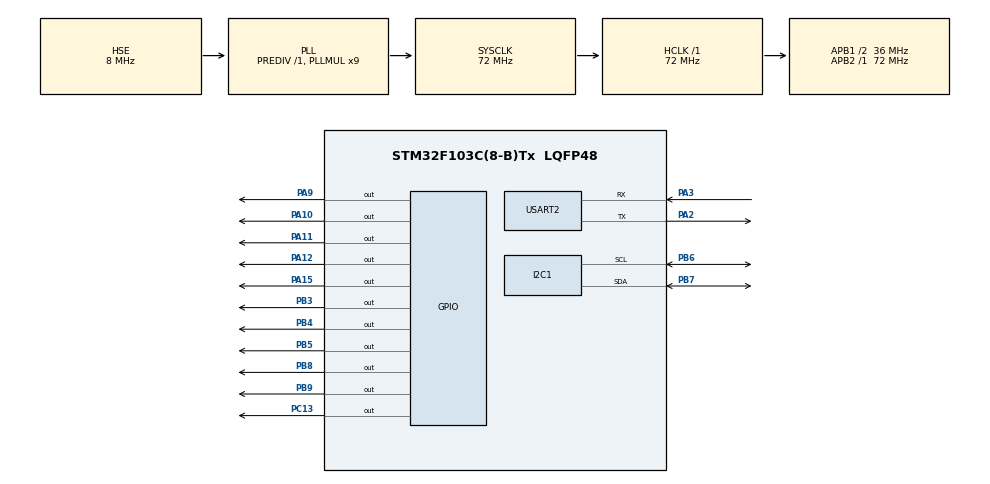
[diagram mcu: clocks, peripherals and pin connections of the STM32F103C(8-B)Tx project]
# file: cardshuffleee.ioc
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I2C1.I2C_Mode=I2C_Fast
Mcu.Family=STM32F1
Mcu.Name=STM32F103C(8-B)Tx
Mcu.Package=LQFP48
NVIC.PriorityGroup=NVIC_PRIORITYGROUP_4
PA10.Signal=GPIO_Output
PA11.Signal=GPIO_Output
PA12.Signal=GPIO_Output
PA15.Signal=GPIO_Output
PA2.Mode=Asynchronous
PA2.Signal=USART2_TX
PA3.Mode=Asynchronous
PA3.Signal=USART2_RX
PA9.Signal=GPIO_Output
PB3.Signal=GPIO_Output
PB4.Signal=GPIO_Output
PB5.Signal=GPIO_Output
PB6.Mode=I2C
PB6.Signal=I2C1_SCL
PB7.Mode=I2C
PB7.Signal=I2C1_SDA
PB8.Signal=GPIO_Output
PB9.Signal=GPIO_Output
PC13-TAMPER-RTC.Signal=GPIO_Output
PD0-OSC_IN.Mode=HSE-External-Oscillator
PD0-OSC_IN.Signal=RCC_OSC_IN
PD1-OSC_OUT.Mode=HSE-External-Oscillator
PD1-OSC_OUT.Signal=RCC_OSC_OUT
ProjectManager.HeapSize=0x200
ProjectManager.StackSize=0x400
ProjectManager.TargetToolchain=STM32CubeIDE
RCC.AHBFreq_Value=72000000
RCC.APB1CLKDivider=RCC_HCLK_DIV2
RCC.APB1Freq_Value=36000000
RCC.APB1TimFreq_Value=72000000
RCC.APB2Freq_Value=72000000
RCC.APB2TimFreq_Value=72000000
RCC.HCLKFreq_Value=72000000
RCC.PLLMUL=RCC_PLL_MUL9
RCC.PLLSourceVirtual=RCC_PLLSOURCE_HSE
RCC.SYSCLKFreq_VALUE=72000000
RCC.SYSCLKSource=RCC_SYSCLKSOURCE_PLLCLK
RCC.USBFreq_Value=72000000
USART2.VirtualMode=VM_ASYNC
VP_SYS_VS_ND.Mode=No_Debug
board=custom

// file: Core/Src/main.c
/* USER CODE BEGIN Header */
/**
  ******************************************************************************
  * @file           : main.c
  * @brief          : Main program body
  ******************************************************************************
  * @attention
  *
  * Copyright (c) 2025 STMicroelectronics.
  * All rights reserved.
  *
  * This software is licensed under terms that can be found in the LICENSE file
  * in the root directory of this software component.
  * If no LICENSE file comes with this software, it is provided AS-IS.
  *
  ******************************************************************************
  */
/* USER CODE END Header */
#include "main.h"

I2C_HandleTypeDef hi2c1;

UART_HandleTypeDef huart2;

void SystemClock_Config(void);
static void MX_GPIO_Init(void);
static void MX_I2C1_Init(void);
static void MX_USART2_UART_Init(void);
/* USER CODE BEGIN PFP */
#define VL6180X_DEFAULT_I2C_ADDR  0x29 << 1
static const uint8_t systemmode = 0x010;
static const uint8_t systemmode2 = 0x011;
char buffer[50];
int uart_buf_len;
/* USER CODE END PFP */

int main(void)
{

  /* USER CODE BEGIN 1 */
	HAL_StatusTypeDef VL6180X_WriteReg(uint8_t reg, uint8_t data) {
	    return HAL_I2C_Mem_Write(&hi2c1, VL6180X_DEFAULT_I2C_ADDR, reg, I2C_MEMADD_SIZE_8BIT, &data, 1, HAL_MAX_DELAY);
	}

	HAL_StatusTypeDef VL6180X_ReadReg(uint8_t reg, uint8_t *data) {
	    return HAL_I2C_Mem_Read(&hi2c1, VL6180X_DEFAULT_I2C_ADDR, reg, I2C_MEMADD_SIZE_8BIT, data, 1, HAL_MAX_DELAY);
	}
    uint8_t id;
    VL6180X_ReadReg(0x00, &id); // Check model ID (should be 0xB4)

    if (id != 0xB4) {
        printf("Sensor not found!\n");
        return;
    }

    // Mandatory init writes
    VL6180X_WriteReg(0x0207, 0x01);
    VL6180X_WriteReg(0x0208, 0x01);
    VL6180X_WriteReg(0x0096, 0x00);
    VL6180X_WriteReg(0x0097, 0xfd);
    VL6180X_WriteReg(0x00e3, 0x00);
    VL6180X_WriteReg(0x00e4, 0x04);
    VL6180X_WriteReg(0x00e5, 0x02);
    VL6180X_WriteReg(0x00e6, 0x01);
    VL6180X_WriteReg(0x00e7, 0x03);
    VL6180X_WriteReg(0x00f5, 0x02);
    VL6180X_WriteReg(0x00d9, 0x05);
    VL6180X_WriteReg(0x00db, 0xce);
    VL6180X_WriteReg(0x00dc, 0x03);
    VL6180X_WriteReg(0x00dd, 0xf8);
    VL6180X_WriteReg(0x009f, 0x00);
    VL6180X_WriteReg(0x00a3, 0x3c);
    VL6180X_WriteReg(0x00b7, 0x00);
    VL6180X_WriteReg(0x00bb, 0x3c);
    VL6180X_WriteReg(0x00b2, 0x09);
    VL6180X_WriteReg(0x00ca, 0x09);
    VL6180X_WriteReg(0x0198, 0x01);
    VL6180X_WriteReg(0x01b0, 0x17);
    VL6180X_WriteReg(0x01ad, 0x00);
    VL6180X_WriteReg(0x00ff, 0x05);
    VL6180X_WriteReg(0x0100, 0x05);
    VL6180X_WriteReg(0x0199, 0x05);
    VL6180X_WriteReg(0x01a6, 0x1b);
    VL6180X_WriteReg(0x01ac, 0x3e);
    VL6180X_WriteReg(0x01a7, 0x1f);
    VL6180X_WriteReg(0x0030, 0x00);
  /* USER CODE END 1 */

  /* MCU Configuration--------------------------------------------------------*/

  /* Reset of all peripherals, Initializes the Flash interface and the Systick. */
  HAL_Init();

  /* Configure the system clock */
  SystemClock_Config();

  /* Initialize all configured peripherals */
  MX_GPIO_Init();
  MX_I2C1_Init();
  MX_USART2_UART_Init();
  /* USER CODE BEGIN 2 */
  HAL_GPIO_WritePin (GPIOB, GPIO_PIN_6, GPIO_PIN_SET); //sda
  HAL_GPIO_WritePin (GPIOB, GPIO_PIN_7, GPIO_PIN_SET); //scl

  HAL_GPIO_WritePin (GPIOB, GPIO_PIN_4, GPIO_PIN_SET);
  HAL_GPIO_WritePin (GPIOB, GPIO_PIN_5, GPIO_PIN_SET);

  HAL_GPIO_WritePin (GPIOB, GPIO_PIN_8, GPIO_PIN_SET);
  HAL_GPIO_WritePin (GPIOB, GPIO_PIN_9, GPIO_PIN_SET);
  HAL_GPIO_WritePin (GPIOB, GPIO_PIN_3, GPIO_PIN_SET);
  HAL_GPIO_WritePin (GPIOA, GPIO_PIN_15, GPIO_PIN_SET);

  HAL_GPIO_WritePin (GPIOA, GPIO_PIN_11, GPIO_PIN_SET);
  HAL_GPIO_WritePin (GPIOA, GPIO_PIN_12, GPIO_PIN_SET);
  /* USER CODE END 2 */

  /* Infinite loop */
  /* USER CODE BEGIN WHILE */
  while (1)
  {
	  	/*while (carddetect == 0){

	  	}
	  	HAL_Delay(1000);
	  	//flywheel spin
	  	while(cardetect == 1){
	  		HAL_GPIO_WritePin (GPIOB, GPIO_PIN_6, GPIO_PIN_SET);
			HAL_GPIO_WritePin (GPIOB, GPIO_PIN_7, GPIO_PIN_RESET);
			HAL_Delay (50);
			HAL_GPIO_WritePin (GPIOB, GPIO_PIN_8, GPIO_PIN_SET);
			HAL_GPIO_WritePin (GPIOB, GPIO_PIN_9, GPIO_PIN_RESET);
	  	}
	    HAL_Delay (1000);
  		HAL_GPIO_WritePin (GPIOB, GPIO_PIN_6, GPIO_PIN_RESET);
		HAL_GPIO_WritePin (GPIOB, GPIO_PIN_7, GPIO_PIN_RESET);
		HAL_Delay (50);
		HAL_GPIO_WritePin (GPIOB, GPIO_PIN_8, GPIO_PIN_RESET);
		HAL_GPIO_WritePin (GPIOB, GPIO_PIN_9, GPIO_PIN_RESET);

		//splitter split
	    HAL_GPIO_WritePin (GPIOB, GPIO_PIN_5, GPIO_PIN_SET);
	    HAL_GPIO_WritePin (GPIOB, GPIO_PIN_4, GPIO_PIN_RESET);
	    HAL_Delay (200);
	    HAL_GPIO_WritePin (GPIOB, GPIO_PIN_5, GPIO_PIN_RESET);
	    HAL_GPIO_WritePin (GPIOB, GPIO_PIN_4, GPIO_PIN_SET);
	    HAL_Delay (100);
	    HAL_GPIO_WritePin (GPIOB, GPIO_PIN_5, GPIO_PIN_RESET);
	    HAL_GPIO_WritePin (GPIOB, GPIO_PIN_4, GPIO_PIN_RESET);

	    //lift
	    HAL_GPIO_WritePin (GPIOB, GPIO_PIN_3, GPIO_PIN_RESET);
	    HAL_GPIO_WritePin (GPIOA, GPIO_PIN_15, GPIO_PIN_SET);
	    HAL_Delay (200);
	    HAL_GPIO_WritePin (GPIOB, GPIO_PIN_3, GPIO_PIN_RESET);
	    HAL_GPIO_WritePin (GPIOA, GPIO_PIN_15, GPIO_PIN_RESET);

	    //pusher
	    HAL_GPIO_WritePin (GPIOA, GPIO_PIN_11, GPIO_PIN_RESET);
	    HAL_GPIO_WritePin (GPIOA, GPIO_PIN_12, GPIO_PIN_SET);
	    HAL_Delay (200);
	    HAL_GPIO_WritePin (GPIOA, GPIO_PIN_11, GPIO_PIN_RESET);
	    HAL_GPIO_WritePin (GPIOA, GPIO_PIN_12, GPIO_PIN_RESET);*/
	      VL6180X_WriteReg(0x0018, 0x01); // Start range measurement
	      HAL_Delay(10);
	      uint8_t status;
	      VL6180X_ReadReg(0x004f, &status);

	      if ((status & 0x07) == 0x04) {
	          uint8_t distance;
	          VL6180X_ReadReg(0x0062, &distance);
	      }

    /* USER CODE END WHILE */

  }
}

void SystemClock_Config(void)
{
  RCC_OscInitTypeDef RCC_OscInitStruct = {0};
  RCC_ClkInitTypeDef RCC_ClkInitStruct = {0};

  /** Initializes the RCC Oscillators according to the specified parameters
  * in the RCC_OscInitTypeDef structure.
  */
  RCC_OscInitStruct.OscillatorType = RCC_OSCILLATORTYPE_HSE;
  RCC_OscInitStruct.HSEState = RCC_HSE_ON;
  RCC_OscInitStruct.HSEPredivValue = RCC_HSE_PREDIV_DIV1;
  RCC_OscInitStruct.HSIState = RCC_HSI_ON;
  RCC_OscInitStruct.PLL.PLLState = RCC_PLL_ON;
  RCC_OscInitStruct.PLL.PLLSource = RCC_PLLSOURCE_HSE;
  RCC_OscInitStruct.PLL.PLLMUL = RCC_PLL_MUL9;
  if (HAL_RCC_OscConfig(&RCC_OscInitStruct) != HAL_OK)
  {
    Error_Handler();
  }

  /** Initializes the CPU, AHB and APB buses clocks
  */
  RCC_ClkInitStruct.ClockType = RCC_CLOCKTYPE_HCLK|RCC_CLOCKTYPE_SYSCLK
                              |RCC_CLOCKTYPE_PCLK1|RCC_CLOCKTYPE_PCLK2;
  RCC_ClkInitStruct.SYSCLKSource = RCC_SYSCLKSOURCE_PLLCLK;
  RCC_ClkInitStruct.AHBCLKDivider = RCC_SYSCLK_DIV1;
  RCC_ClkInitStruct.APB1CLKDivider = RCC_HCLK_DIV2;
  RCC_ClkInitStruct.APB2CLKDivider = RCC_HCLK_DIV1;

  if (HAL_RCC_ClockConfig(&RCC_ClkInitStruct, FLASH_LATENCY_2) != HAL_OK)
  {
    Error_Handler();
  }
}

static void MX_I2C1_Init(void)
{

  hi2c1.Instance = I2C1;
  hi2c1.Init.ClockSpeed = 400000;
  hi2c1.Init.DutyCycle = I2C_DUTYCYCLE_2;
  hi2c1.Init.OwnAddress1 = 0;
  hi2c1.Init.AddressingMode = I2C_ADDRESSINGMODE_7BIT;
  hi2c1.Init.DualAddressMode = I2C_DUALADDRESS_DISABLE;
  hi2c1.Init.OwnAddress2 = 0;
  hi2c1.Init.GeneralCallMode = I2C_GENERALCALL_DISABLE;
  hi2c1.Init.NoStretchMode = I2C_NOSTRETCH_DISABLE;
  if (HAL_I2C_Init(&hi2c1) != HAL_OK)
  {
    Error_Handler();
  }

}

static void MX_USART2_UART_Init(void)
{

  huart2.Instance = USART2;
  huart2.Init.BaudRate = 115200;
  huart2.Init.WordLength = UART_WORDLENGTH_8B;
  huart2.Init.StopBits = UART_STOPBITS_1;
  huart2.Init.Parity = UART_PARITY_NONE;
  huart2.Init.Mode = UART_MODE_TX_RX;
  huart2.Init.HwFlowCtl = UART_HWCONTROL_NONE;
  huart2.Init.OverSampling = UART_OVERSAMPLING_16;
  if (HAL_UART_Init(&huart2) != HAL_OK)
  {
    Error_Handler();
  }

}

static void MX_GPIO_Init(void)
{
  GPIO_InitTypeDef GPIO_InitStruct = {0};

  /* GPIO Ports Clock Enable */
  __HAL_RCC_GPIOC_CLK_ENABLE();
  __HAL_RCC_GPIOD_CLK_ENABLE();
  __HAL_RCC_GPIOA_CLK_ENABLE();
  __HAL_RCC_GPIOB_CLK_ENABLE();

  /*Configure GPIO pin Output Level */
  HAL_GPIO_WritePin(GPIOC, GPIO_PIN_13, GPIO_PIN_RESET);

  /*Configure GPIO pin Output Level */
  HAL_GPIO_WritePin(GPIOA, GPIO_PIN_9|GPIO_PIN_10|GPIO_PIN_11|GPIO_PIN_12
                          |GPIO_PIN_15, GPIO_PIN_RESET);

  /*Configure GPIO pin Output Level */
  HAL_GPIO_WritePin(GPIOB, GPIO_PIN_3|GPIO_PIN_4|GPIO_PIN_5|GPIO_PIN_8
                          |GPIO_PIN_9, GPIO_PIN_RESET);

  /*Configure GPIO pin : PC13 */
  GPIO_InitStruct.Pin = GPIO_PIN_13;
  GPIO_InitStruct.Mode = GPIO_MODE_OUTPUT_PP;
  GPIO_InitStruct.Pull = GPIO_NOPULL;
  GPIO_InitStruct.Speed = GPIO_SPEED_FREQ_LOW;
  HAL_GPIO_Init(GPIOC, &GPIO_InitStruct);

  /*Configure GPIO pins : PA9 PA10 PA11 PA12
                           PA15 */
  GPIO_InitStruct.Pin = GPIO_PIN_9|GPIO_PIN_10|GPIO_PIN_11|GPIO_PIN_12
                          |GPIO_PIN_15;
  GPIO_InitStruct.Mode = GPIO_MODE_OUTPUT_PP;
  GPIO_InitStruct.Pull = GPIO_NOPULL;
  GPIO_InitStruct.Speed = GPIO_SPEED_FREQ_LOW;
  HAL_GPIO_Init(GPIOA, &GPIO_InitStruct);

  /*Configure GPIO pins : PB3 PB4 PB5 PB8
                           PB9 */
  GPIO_InitStruct.Pin = GPIO_PIN_3|GPIO_PIN_4|GPIO_PIN_5|GPIO_PIN_8
                          |GPIO_PIN_9;
  GPIO_InitStruct.Mode = GPIO_MODE_OUTPUT_PP;
  GPIO_InitStruct.Pull = GPIO_NOPULL;
  GPIO_InitStruct.Speed = GPIO_SPEED_FREQ_LOW;
  HAL_GPIO_Init(GPIOB, &GPIO_InitStruct);

}

void Error_Handler(void)
{
  __disable_irq();
  while (1)
  {
  }
}
